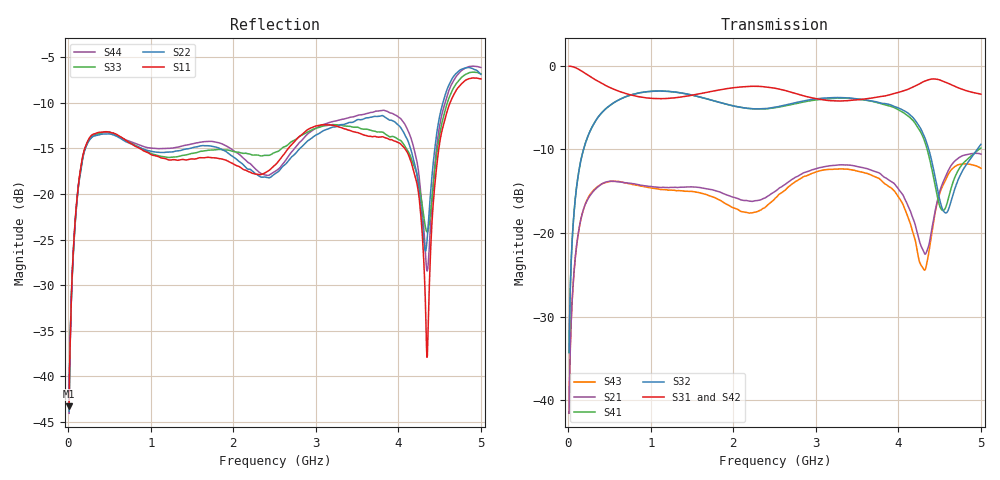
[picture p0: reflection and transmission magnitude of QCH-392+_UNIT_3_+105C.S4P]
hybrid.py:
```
from pathlib import Path

import numpy as np
import skrf as rf

import matplotlib.pyplot as plt

from scipy.interpolate import CubicSpline

class QCH392:
    datadir = Path(__file__).parent / "data"

    sparams = rf.Network(datadir / "QCH-392+_UNIT_3_+105C.S4P")

    gain_imbalance = np.abs(sparams.s[:,2,0])/np.abs(sparams.s[:,3,0])

    phase_imbalance = np.abs(np.unwrap(np.angle(sparams.s[:,3,0]) - np.angle(sparams.s[:,2,0]))) - np.pi / 2

    __a = (gain_imbalance**2 - 2 * gain_imbalance * np.cos(phase_imbalance) + 1)
    __a /= (gain_imbalance**2 + 2 * gain_imbalance * np.cos(phase_imbalance) + 1)
    
    sideband_suppression = CubicSpline(sparams.f/1e9, 10 * np.log10(__a))
```
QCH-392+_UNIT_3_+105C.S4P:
!Mini-Circuits Laboratory
!S-Parameters
!Model: QCH-392+
!Run/Date Code: 1935
!DATA FOR: UNIT # 3
!Unit soldered on TB-863
!Freq	S11:SOLT4(ON)	S12:SOLT4(ON)	S13:SOLT4(ON)	S14:SOLT4(ON)
!	S21:SOLT4(ON)	S22:SOLT4(ON)	S23:SOLT4(ON)	S24:SOLT4(ON)
!	S31:SOLT4(ON)	S32:SOLT4(ON)	S33:SOLT4(ON)	S34:SOLT4(ON)
!	S41:SOLT4(ON)	S42:SOLT4(ON)	S43:SOLT4(ON)	S44:SOLT4(ON)
!PortZ  Port1:50+j0  Port2:50+j0  Port3:50+j0  Port4:50+j0
!Above PortZ is port z conversion or system Z0 setting when saving the data.
!Connection: PORT-1 - pin<1>;  PORT-2 - pin<2>;  PORT-3- pin<3>; PORT-4- pin<4>
!When reading, reference impedance value at option line is always used.
# Hz S RI R 50
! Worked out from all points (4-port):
!   1001 points, 10 MHz to 5 GHz, reference 50 ohm
!   strongest paths, dB at 10 MHz, 1.258 GHz, 2.505 GHz, 3.752 GHz, 5 GHz:
!     S31: -0.1, -3.9, -2.7, -3.7, -3.4
!     S42: -0.1, -3.9, -2.6, -4.0, -3.7
!     S32: -34.3, -3.1, -5.0, -4.4, -9.4
!     S41: -34.3, -3.1, -5.0, -4.4, -9.9
!     S21: -41.6, -14.6, -15.0, -12.8, -10.6
!     S43: -41.6, -14.9, -15.9, -13.4, -12.3
!   lowest |S11| = -43.3 dB at 10 MHz (marker M1), VSWR 1.01, Z = 50 - j0.685 ohm
!   |S11| at or under -10 dB: start of sweep to 4.626 GHz
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1e7  -4.07e-05 -0.00685  0.000413 0.00835  0.9918 -0.0365  0.000818 0.0193
     0.000412 0.00836  -0.0004 -0.00643  0.00082 0.0193  0.9916 -0.0363
     0.9918 -0.0364  0.000816 0.0193  -4.99e-05 -0.00674  0.000404 0.00836
     0.000817 0.0193  0.9919 -0.0364  0.000403 0.00834  -0.000373 -0.00625
1.29742e9  0.0759 0.1339  -0.1806 -0.0494  -0.6427 0.00696  -0.0429 -0.6927
           -0.1809 -0.0488  0.0711 0.1564  -0.0372 -0.6941  -0.6381 0.0161
           -0.6426 0.00767  -0.0375 -0.694  0.0601 0.148  -0.1705 -0.056
           -0.0441 -0.6925  -0.6379 0.0165  -0.1704 -0.0562  0.0727 0.1645
5e9  0.2339 0.3587  0.2854 0.079  0.6687 -0.0885  -0.1951 -0.2562
     0.2851 0.0784  0.2296 0.3913  -0.1789 -0.2876  0.6504 -0.087
     0.6688 -0.0914  -0.1796 -0.2871  0.114 0.4417  0.1797 0.1648
     -0.1959 -0.255  0.65 -0.0878  0.1795 0.1643  0.1438 0.4731
